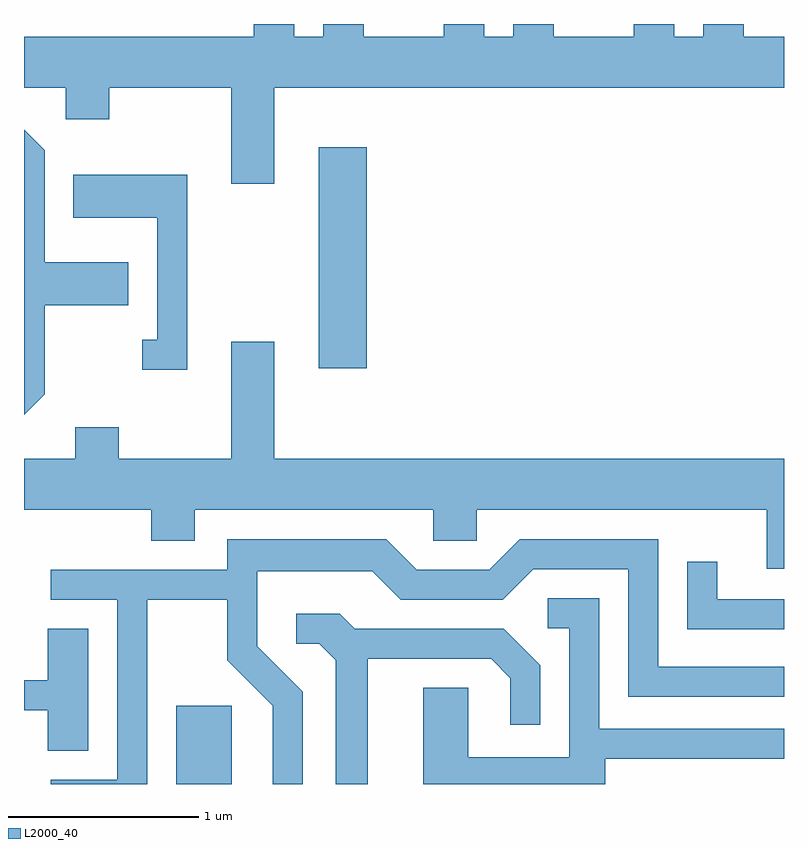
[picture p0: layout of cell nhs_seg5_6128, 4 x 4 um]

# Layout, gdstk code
import gdstk
lib = gdstk.Library(unit=1e-6, precision=1e-09)
def R(c, l, rs):  # rectangles x0, y0, x1, y1
    for r in rs: c.add(gdstk.rectangle(r[:2], r[2:], *l))
def P(c, l, *ps):  # polygons
    for p in ps: c.add(gdstk.Polygon(p, *l))
L2000_40 = (2000, 40)

nhs_seg5_6128 = lib.new_cell('nhs_seg5_6128')
R(nhs_seg5_6128, L2000_40, [(368.411,1402.072,368.704,1402.484), (369.161,1404.261,369.414,1405.424)])
P(nhs_seg5_6128, L2000_40, [(368.929,1405.736),(371.611,1405.736),(371.611,1406.004),(371.399,1406.004),(371.399,1406.072),(371.186,1406.072),(371.186,1406.004),(371.034,1406.004),(371.034,1406.072),(370.821,1406.072),(370.821,1406.004),(370.399,1406.004),(370.399,1406.072),(370.186,1406.072),(370.186,1406.004),(370.034,1406.004),(370.034,1406.072),(369.821,1406.072),(369.821,1406.004),(369.399,1406.004),(369.399,1406.072),(369.186,1406.072),(369.186,1406.004),(369.034,1406.004),(369.034,1406.072),(368.821,1406.072),(368.821,1406.004),(367.611,1406.004),(367.611,1405.736),(367.831,1405.736),(367.831,1405.571),(368.059,1405.571),(368.059,1405.736),(368.701,1405.736),(368.701,1405.231),(368.929,1405.231)],
  [(367.719,1404.124),(367.719,1404.591),(368.159,1404.591),(368.159,1404.819),(367.719,1404.819),(367.719,1405.407),(367.611,1405.515),(367.611,1404.015)],
  [(368.469,1405.279),(367.871,1405.279),(367.871,1405.051),(368.311,1405.051),(368.311,1404.409),(368.233,1404.409),(368.233,1404.251),(368.469,1404.251)],
  [(368.281,1403.351),(368.509,1403.351),(368.509,1403.516),(369.766,1403.516),(369.766,1403.351),(369.994,1403.351),(369.994,1403.516),(371.521,1403.516),(371.521,1403.206),(371.611,1403.206),(371.611,1403.784),(368.929,1403.784),(368.929,1404.399),(368.701,1404.399),(368.701,1403.784),(368.109,1403.784),(368.109,1403.949),(367.881,1403.949),(367.881,1403.784),(367.611,1403.784),(367.611,1403.516),(368.281,1403.516)],
  [(368.259,1403.041),(368.681,1403.041),(368.681,1402.724),(368.921,1402.484),(368.921,1402.072),(369.079,1402.072),(369.079,1402.557),(368.839,1402.797),(368.839,1403.191),(369.444,1403.191),(369.594,1403.041),(370.132,1403.041),(370.292,1403.201),(370.791,1403.201),(370.791,1402.531),(371.611,1402.531),(371.611,1402.689),(370.949,1402.689),(370.949,1403.359),(370.219,1403.359),(370.059,1403.199),(369.677,1403.199),(369.517,1403.359),(368.681,1403.359),(368.681,1403.199),(367.753,1403.199),(367.753,1403.041),(368.101,1403.041),(368.101,1402.094),(367.753,1402.094),(367.753,1402.072),(368.259,1402.072)],
  [(371.611,1403.044),(371.259,1403.044),(371.259,1403.243),(371.101,1403.243),(371.101,1402.886),(371.611,1402.886)],
  [(370.669,1402.206),(371.611,1402.206),(371.611,1402.364),(370.639,1402.364),(370.639,1403.049),(370.368,1403.049),(370.368,1402.891),(370.481,1402.891),(370.481,1402.214),(369.949,1402.214),(369.949,1402.579),(369.711,1402.579),(369.711,1402.072),(370.669,1402.072)],
  [(369.419,1402.731),(370.069,1402.731),(370.171,1402.629),(370.171,1402.383),(370.329,1402.383),(370.329,1402.697),(370.137,1402.889),(369.352,1402.889),(369.272,1402.969),(369.043,1402.969),(369.043,1402.811),(369.164,1402.811),(369.251,1402.724),(369.251,1402.072),(369.419,1402.072)],
  [(367.949,1402.889),(367.736,1402.889),(367.736,1402.619),(367.611,1402.619),(367.611,1402.461),(367.736,1402.461),(367.736,1402.246),(367.949,1402.246)])

lib.write_gds('nhs_seg5_6128.gds')
